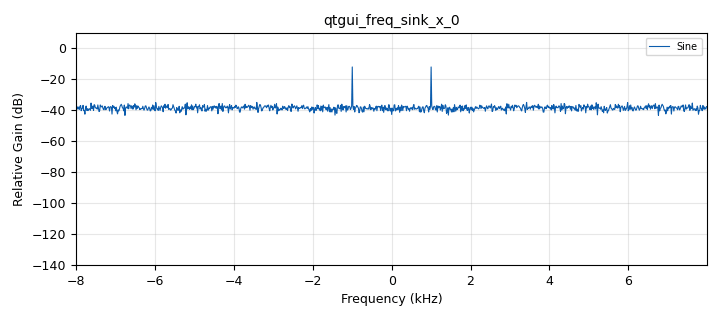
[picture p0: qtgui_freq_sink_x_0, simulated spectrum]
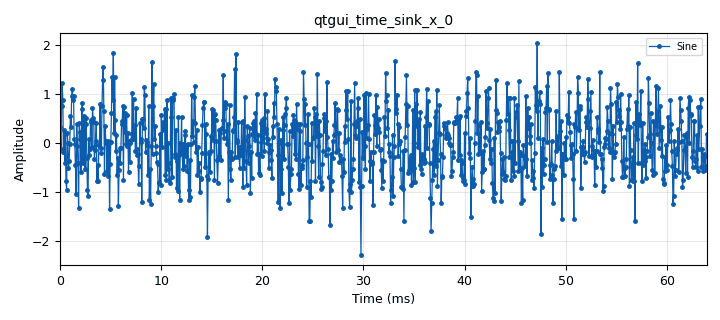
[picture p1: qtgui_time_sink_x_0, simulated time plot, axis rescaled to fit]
options:
  parameters:
    author: han6-7
    generate_options: qt_gui
    id: PLLexp1
    output_language: python
    title: Signal + Noise
  states: {}

blocks:
- name: samp_rate
  id: variable
  parameters:
    value: '16000'
  states: {}
- name: sig_amp
  id: variable_qtgui_range
  parameters:
    label: sig_amp
    start: '0.01'
    step: '0.01'
    stop: '1'
    value: '0.5'
  states: {}
- name: sigma
  id: variable_qtgui_range
  parameters:
    label: sigma
    start: '0.01'
    step: '0.01'
    stop: '1'
    value: '0.5'
  states: {}
- name: analog_noise_source_x_0
  id: analog_noise_source_x
  parameters:
    amp: sigma
    noise_type: analog.GR_GAUSSIAN
    seed: '0'
    type: float
  states: {}
- name: analog_sig_source_x_0
  id: analog_sig_source_x
  parameters:
    amp: sig_amp
    freq: '1000'
    offset: '0'
    phase: '0'
    samp_rate: samp_rate
    type: float
    waveform: analog.GR_SIN_WAVE
  states: {}
- name: blocks_add_xx_0
  id: blocks_add_xx
  parameters:
    type: float
  states: {}
- name: blocks_throttle2_0
  id: blocks_throttle2
  parameters:
    samples_per_second: samp_rate
    type: float
  states: {}
- name: qtgui_freq_sink_x_0
  id: qtgui_freq_sink_x
  parameters:
    average: '0.05'
    bw: samp_rate
    fc: '0'
    fftsize: '1024'
    gui_hint: 0,0,1,1
    label1: Sine
    type: float
    wintype: window.WIN_RECTANGULAR
  states: {}
- name: qtgui_time_sink_x_0
  id: qtgui_time_sink_x
  parameters:
    entags: 'False'
    gui_hint: 0,2,1,1
    label1: Sine
    marker1: '2'
    size: '1024'
    srate: samp_rate
    type: float
  states: {}

connections:
- [analog_noise_source_x_0, '0', blocks_add_xx_0, '1']
- [analog_sig_source_x_0, '0', blocks_add_xx_0, '0']
- [blocks_add_xx_0, '0', blocks_throttle2_0, '0']
- [blocks_throttle2_0, '0', qtgui_freq_sink_x_0, '0']
- [blocks_throttle2_0, '0', qtgui_time_sink_x_0, '0']

metadata:
  file_format: 1
  grc_version: 3.10.9.2
